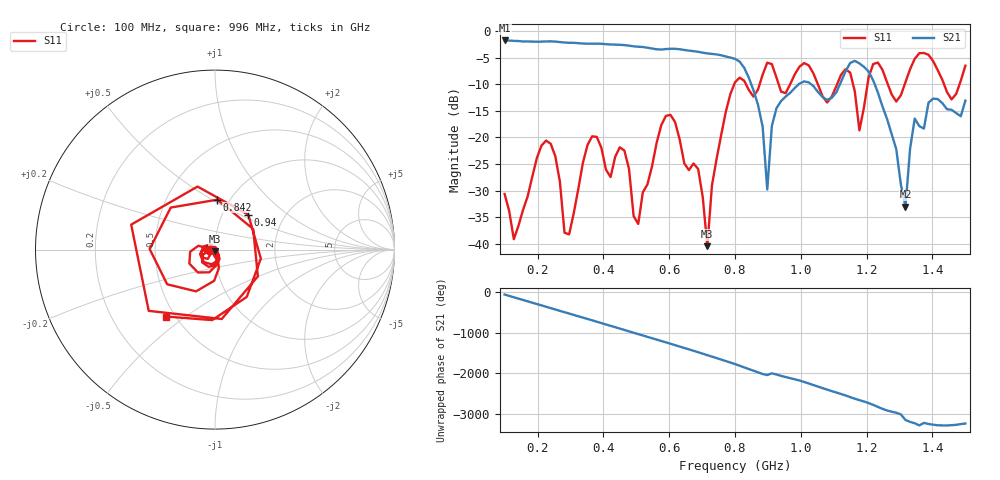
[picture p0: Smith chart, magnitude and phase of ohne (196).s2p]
! NanoVNA-App
! Date: 2025-09-25 14:22:19
! Start: 100MHz Stop: 1,5GHz Points: 101
! S-Parameter data: F S11 S21 S12 S22
# Hz S RI R 50
!  Frequency  S11_Real  S11_Imag  S21_Real  S21_Imag  S12_Real  S12_Imag  S22_Real  S22_Imag
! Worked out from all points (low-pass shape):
!   101 points, 100 MHz to 1.5 GHz, reference 50 ohm
!   highest |S21| = -1.79 dB at 100 MHz (marker M1); lowest = -33.0 dB at 1.318 GHz (marker M2)
!   |S21| within 3 dB of the highest: start of sweep to 771.4 MHz
!   lowest |S11| = -40.4 dB at 716 MHz (marker M3), VSWR 1.02, Z = 49.9 - j0.938 ohm
!   |S11| at or under -10 dB: start of sweep to 797.8 MHz; 833.1 MHz to 875.1 MHz (41.96 MHz wide, 4.91 % of centre); 1.052 GHz to 1.11 GHz (58.85 MHz wide, 5.44 % of centre) (the widest 3 of 7)
!   S12 and S22 are empty: the file has one direction only
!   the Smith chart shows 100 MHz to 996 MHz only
!   S11 on the Smith chart (normalised r, x): 100 MHz: 0.94, -0.01; 842 MHz: 0.88, +0.53; 940 MHz: 1.32, +0.56; 996 MHz: 0.45, -0.42
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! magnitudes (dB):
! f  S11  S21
! 100 MHz  -30.6  -1.8
! 128 MHz  -39.1  -1.9
! 226 MHz  -20.6  -2.0
! 296 MHz  -38.2  -2.2
! 338 MHz  -24.7  -2.4
! 464 MHz  -22.5  -2.7
! 506 MHz  -36.3  -3.0
! 576 MHz  -17.7  -3.5
! 688 MHz  -25.9  -3.9
! 716 MHz  -40.4  -4.2
! 800 MHz  -9.7  -5.3
! 842 MHz  -11.1  -8.8
! 898 MHz  -6.0  -29.8
! 940 MHz  -11.4  -13.2
! 996 MHz  -6.7  -9.9
! 1.038 GHz  -8.0  -10.3
! 1.178 GHz  -18.7  -6.1
! 1.22 GHz  -6.2  -9.3
! 1.276 GHz  -11.9  -19.4
! 1.318 GHz  -9.6  -33.0
! 1.346 GHz  -5.3  -16.5
! 1.5 GHz  -6.5  -13.1
